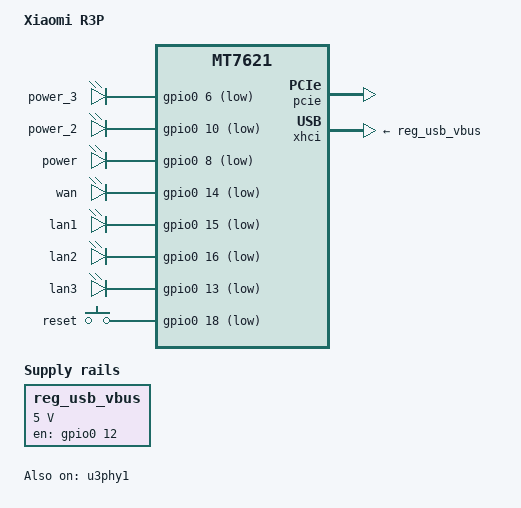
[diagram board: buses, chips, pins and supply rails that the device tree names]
/dts-v1/;

#include "mt7621.dtsi"
#include <dt-bindings/input/input.h>
#include "mt7621-spi-32m-layout.dtsi"
#include "mt7621-raeth-gmac2.dtsi"
#include "mt7621-pinctrl-default-gpio.dtsi"

/ {
	compatible = "mediatek,mt7621-soc";
	model = "Xiaomi R3P";

	chosen {
		bootargs = "console=ttyS0,115200";
	};

	leds {
		compatible = "gpio-leds";

		sys_red {
			label = "power_3";
			gpios = <&gpio0 6 GPIO_ACTIVE_LOW>;
		};

		sys_yellow {
			label = "power_2";
			gpios = <&gpio0 10 GPIO_ACTIVE_LOW>;
		};

		sys_blue {
			label = "power";
			gpios = <&gpio0 8 GPIO_ACTIVE_LOW>;
		};

		wan {
			label = "wan";
			gpios = <&gpio0 14 GPIO_ACTIVE_LOW>;
		};

		lan1 {
			label = "lan1";
			gpios = <&gpio0 15 GPIO_ACTIVE_LOW>;
		};

		lan2 {
			label = "lan2";
			gpios = <&gpio0 16 GPIO_ACTIVE_LOW>;
		};

		lan3 {
			label = "lan3";
			gpios = <&gpio0 13 GPIO_ACTIVE_LOW>;
		};
	};

	gpio-keys-polled {
		compatible = "gpio-keys-polled";
		#address-cells = <1>;
		#size-cells = <0>;
		poll-interval = <20>;

		reset {
			label = "reset";
			gpios = <&gpio0 18 GPIO_ACTIVE_LOW>;
			linux,code = <KEY_RESTART>;
		};
	};

	reg_usb_vbus: regulator {
		compatible = "regulator-fixed";
		regulator-name = "usb_vbus";
		regulator-min-microvolt = <5000000>;
		regulator-max-microvolt = <5000000>;
		gpio = <&gpio0 12 GPIO_ACTIVE_HIGH>;
		enable-active-high;
	};

};

&pcie {
	status = "okay";
};

&xhci {
	vbus-supply = <&reg_usb_vbus>;
	status = "okay";
};

&u3phy1 {
	status = "okay";
};
